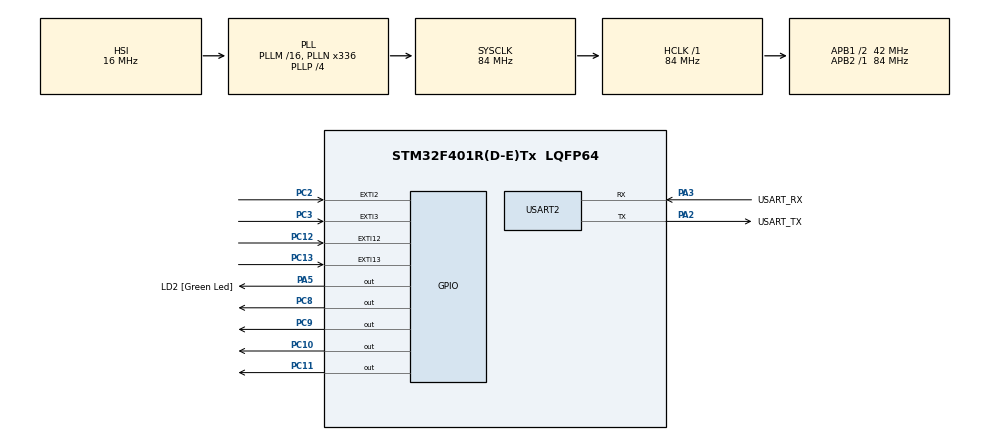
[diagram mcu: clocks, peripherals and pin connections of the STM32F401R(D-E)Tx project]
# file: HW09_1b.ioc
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Mcu.Family=STM32F4
Mcu.Name=STM32F401R(D-E)Tx
Mcu.Package=LQFP64
NVIC.EXTI15_10_IRQn=true\:0\:0\:false\:false\:true\:true\:true\:true
NVIC.EXTI2_IRQn=true\:0\:0\:true\:false\:true\:true\:true\:true
NVIC.EXTI3_IRQn=true\:0\:0\:false\:false\:true\:true\:true\:true
NVIC.PriorityGroup=NVIC_PRIORITYGROUP_0
NVIC.TIM1_UP_TIM10_IRQn=true\:0\:1\:true\:false\:true\:true\:true\:true
PA13.GPIO_Label=TMS
PA13.Mode=Serial_Wire
PA13.Signal=SYS_JTMS-SWDIO
PA14.GPIO_Label=TCK
PA14.Mode=Serial_Wire
PA14.Signal=SYS_JTCK-SWCLK
PA2.GPIO_Label=USART_TX
PA2.GPIO_Mode=GPIO_MODE_AF_PP
PA2.GPIO_PuPd=GPIO_NOPULL
PA2.GPIO_Speed=GPIO_SPEED_FREQ_LOW
PA2.Mode=Asynchronous
PA2.Signal=USART2_TX
PA3.GPIO_Label=USART_RX
PA3.GPIO_Mode=GPIO_MODE_AF_PP
PA3.GPIO_PuPd=GPIO_NOPULL
PA3.GPIO_Speed=GPIO_SPEED_FREQ_LOW
PA3.Mode=Asynchronous
PA3.Signal=USART2_RX
PA5.GPIO_Label=LD2 [Green Led]
PA5.GPIO_Mode=GPIO_MODE_OUTPUT_PP
PA5.GPIO_PuPd=GPIO_NOPULL
PA5.GPIO_Speed=GPIO_SPEED_FREQ_LOW
PA5.Signal=GPIO_Output
PB3.GPIO_Label=SWO
PB3.Signal=SYS_JTDO-SWO
PC10.Signal=GPIO_Output
PC11.Signal=GPIO_Output
PC12.GPIO_ModeDefaultEXTI=GPIO_MODE_IT_FALLING
PC12.Signal=GPXTI12
PC13-ANTI_TAMP.GPIO_ModeDefaultEXTI=GPIO_MODE_IT_FALLING
PC13-ANTI_TAMP.Signal=GPXTI13
PC14-OSC32_IN.Mode=LSE-External-Oscillator
PC14-OSC32_IN.Signal=RCC_OSC32_IN
PC15-OSC32_OUT.Mode=LSE-External-Oscillator
PC15-OSC32_OUT.Signal=RCC_OSC32_OUT
PC2.GPIO_ModeDefaultEXTI=GPIO_MODE_IT_FALLING
PC2.Signal=GPXTI2
PC3.GPIO_ModeDefaultEXTI=GPIO_MODE_IT_FALLING
PC3.Signal=GPXTI3
PC8.Signal=GPIO_Output
PC9.Signal=GPIO_Output
PH0\ -\ OSC_IN.Mode=HSE-External-Clock-Source
PH0\ -\ OSC_IN.Signal=RCC_OSC_IN
PH1\ -\ OSC_OUT.Mode=HSE-External-Clock-Source
PH1\ -\ OSC_OUT.Signal=RCC_OSC_OUT
ProjectManager.HeapSize=0x200
ProjectManager.StackSize=0x400
ProjectManager.TargetToolchain=STM32CubeIDE
RCC.48MHZClocksFreq_Value=48000000
RCC.AHBFreq_Value=84000000
RCC.APB1CLKDivider=RCC_HCLK_DIV2
RCC.APB1Freq_Value=42000000
RCC.APB1TimFreq_Value=84000000
RCC.APB2Freq_Value=84000000
RCC.APB2TimFreq_Value=84000000
RCC.CortexFreq_Value=84000000
RCC.HCLKFreq_Value=84000000
RCC.HSE_VALUE=8000000
RCC.HSI_VALUE=16000000
RCC.PLLN=336
RCC.PLLP=RCC_PLLP_DIV4
RCC.PLLQ=7
RCC.SYSCLKFreq_VALUE=84000000
RCC.SYSCLKSource=RCC_SYSCLKSOURCE_PLLCLK
RCC.VCOOutputFreq_Value=336000000
TIM10.Period=100-1
TIM10.Prescaler=8400-1
USART2.VirtualMode=VM_ASYNC
VP_TIM10_VS_ClockSourceINT.Mode=Enable_Timer
board=NUCLEO-F401RE

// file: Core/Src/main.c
/* USER CODE BEGIN Header */
/**
  ******************************************************************************
  * @file           : main.c
  * @brief          : Main program body
  ******************************************************************************
  * @attention
  *
  * Copyright (c) 2023 STMicroelectronics.
  * All rights reserved.
  *
  * This software is licensed under terms that can be found in the LICENSE file
  * in the root directory of this software component.
  * If no LICENSE file comes with this software, it is provided AS-IS.
  *
  ******************************************************************************
  */
/* USER CODE END Header */
#include "main.h"

/* USER CODE BEGIN Includes */
#include "stdio.h"
#include "time.h"
/* USER CODE END Includes */

TIM_HandleTypeDef htim10;

UART_HandleTypeDef huart2;

/* USER CODE BEGIN PV */
int column = 0;
uint32_t press_time[4][4];
char buff[50];
/* USER CODE END PV */

void SystemClock_Config(void);
static void MX_GPIO_Init(void);
static void MX_USART2_UART_Init(void);
static void MX_TIM10_Init(void);

/* USER CODE BEGIN 0 */
void HAL_GPIO_EXTI_Callback(uint16_t GPIO_Pin){
	int row;
	//Based on which pin triggered the interrupt, row is assigned its correct value
	switch(GPIO_Pin){
		case GPIO_PIN_2:
			row = 2;
			break;
		case GPIO_PIN_3:
			row = 3;
			break;
		case GPIO_PIN_12:
			row = 0;
			break;
		case GPIO_PIN_13:
			row = 1;
			break;
	}
	//current time is acquired
	uint32_t now = HAL_GetTick();
	//if difference between previous and current press time is > than 60ms, button has been pressed
	if(now - press_time[row][column]> 60)
	{
		//Button pressed! Print through UART the corresponding number
		int len = snprintf(buff, sizeof(buff),"%x \n", column + row*4-1);
		if(HAL_UART_Transmit(&huart2, (uint8_t*) &buff, len, 100) != HAL_OK)
			Error_Handler();
	}
	//assign current time to time matrix
	press_time[row][column] = now;
}

void HAL_TIM_PeriodElapsedCallback(TIM_HandleTypeDef *htim){
	if(htim == &htim10){
		//switch measured column
		switch(column){
			case 0:
				HAL_GPIO_WritePin(GPIOC, GPIO_PIN_8, 1);
			break;
			case 1:
				HAL_GPIO_WritePin(GPIOC, GPIO_PIN_8, 0);
				HAL_GPIO_WritePin(GPIOC, GPIO_PIN_9, 1);
			break;
			case 2:
				HAL_GPIO_WritePin(GPIOC, GPIO_PIN_9, 0);
				HAL_GPIO_WritePin(GPIOC, GPIO_PIN_10, 1);
			break;
			case 3:
				HAL_GPIO_WritePin(GPIOC, GPIO_PIN_10, 0);
				HAL_GPIO_WritePin(GPIOC, GPIO_PIN_11, 1);
			break;
			case 4:
				HAL_GPIO_WritePin(GPIOC, GPIO_PIN_11, 0);
				column=-1;
			break;
		}
		column++;
	}
}
/* USER CODE END 0 */

int main(void)
{
  /* USER CODE BEGIN 1 */

  //initialization of the time matrix
  for(int h=0;h<3;h++){
	  for(int k=0;k<3;k++){
		  press_time[h][k]=-1;
	  }
  }
  /* USER CODE END 1 */

  /* MCU Configuration--------------------------------------------------------*/

  /* Reset of all peripherals, Initializes the Flash interface and the Systick. */
  HAL_Init();

  /* Configure the system clock */
  SystemClock_Config();

  /* Initialize all configured peripherals */
  MX_GPIO_Init();
  MX_USART2_UART_Init();
  MX_TIM10_Init();
  /* USER CODE BEGIN 2 */
  if(HAL_TIM_Base_Start_IT(&htim10)!= HAL_OK)
      	  Error_Handler();
  /* USER CODE END 2 */

  /* Infinite loop */
  while (1)
  {

  }
}

void SystemClock_Config(void)
{
  RCC_OscInitTypeDef RCC_OscInitStruct = {0};
  RCC_ClkInitTypeDef RCC_ClkInitStruct = {0};

  /** Configure the main internal regulator output voltage
  */
  __HAL_RCC_PWR_CLK_ENABLE();
  __HAL_PWR_VOLTAGESCALING_CONFIG(PWR_REGULATOR_VOLTAGE_SCALE2);

  /** Initializes the RCC Oscillators according to the specified parameters
  * in the RCC_OscInitTypeDef structure.
  */
  RCC_OscInitStruct.OscillatorType = RCC_OSCILLATORTYPE_HSI;
  RCC_OscInitStruct.HSIState = RCC_HSI_ON;
  RCC_OscInitStruct.HSICalibrationValue = RCC_HSICALIBRATION_DEFAULT;
  RCC_OscInitStruct.PLL.PLLState = RCC_PLL_ON;
  RCC_OscInitStruct.PLL.PLLSource = RCC_PLLSOURCE_HSI;
  RCC_OscInitStruct.PLL.PLLM = 16;
  RCC_OscInitStruct.PLL.PLLN = 336;
  RCC_OscInitStruct.PLL.PLLP = RCC_PLLP_DIV4;
  RCC_OscInitStruct.PLL.PLLQ = 7;
  if (HAL_RCC_OscConfig(&RCC_OscInitStruct) != HAL_OK)
  {
    Error_Handler();
  }

  /** Initializes the CPU, AHB and APB buses clocks
  */
  RCC_ClkInitStruct.ClockType = RCC_CLOCKTYPE_HCLK|RCC_CLOCKTYPE_SYSCLK
                              |RCC_CLOCKTYPE_PCLK1|RCC_CLOCKTYPE_PCLK2;
  RCC_ClkInitStruct.SYSCLKSource = RCC_SYSCLKSOURCE_PLLCLK;
  RCC_ClkInitStruct.AHBCLKDivider = RCC_SYSCLK_DIV1;
  RCC_ClkInitStruct.APB1CLKDivider = RCC_HCLK_DIV2;
  RCC_ClkInitStruct.APB2CLKDivider = RCC_HCLK_DIV1;

  if (HAL_RCC_ClockConfig(&RCC_ClkInitStruct, FLASH_LATENCY_2) != HAL_OK)
  {
    Error_Handler();
  }
}

static void MX_TIM10_Init(void)
{

  htim10.Instance = TIM10;
  htim10.Init.Prescaler = 8400-1;
  htim10.Init.CounterMode = TIM_COUNTERMODE_UP;
  htim10.Init.Period = 100-1;
  htim10.Init.ClockDivision = TIM_CLOCKDIVISION_DIV1;
  htim10.Init.AutoReloadPreload = TIM_AUTORELOAD_PRELOAD_DISABLE;
  if (HAL_TIM_Base_Init(&htim10) != HAL_OK)
  {
    Error_Handler();
  }

}

static void MX_USART2_UART_Init(void)
{

  huart2.Instance = USART2;
  huart2.Init.BaudRate = 115200;
  huart2.Init.WordLength = UART_WORDLENGTH_8B;
  huart2.Init.StopBits = UART_STOPBITS_1;
  huart2.Init.Parity = UART_PARITY_NONE;
  huart2.Init.Mode = UART_MODE_TX_RX;
  huart2.Init.HwFlowCtl = UART_HWCONTROL_NONE;
  huart2.Init.OverSampling = UART_OVERSAMPLING_16;
  if (HAL_UART_Init(&huart2) != HAL_OK)
  {
    Error_Handler();
  }

}

static void MX_GPIO_Init(void)
{
  GPIO_InitTypeDef GPIO_InitStruct = {0};

  /* GPIO Ports Clock Enable */
  __HAL_RCC_GPIOC_CLK_ENABLE();
  __HAL_RCC_GPIOH_CLK_ENABLE();
  __HAL_RCC_GPIOA_CLK_ENABLE();
  __HAL_RCC_GPIOB_CLK_ENABLE();

  /*Configure GPIO pin Output Level */
  HAL_GPIO_WritePin(LD2_GPIO_Port, LD2_Pin, GPIO_PIN_RESET);

  /*Configure GPIO pin Output Level */
  HAL_GPIO_WritePin(GPIOC, GPIO_PIN_8|GPIO_PIN_9|GPIO_PIN_10|GPIO_PIN_11, GPIO_PIN_RESET);

  /*Configure GPIO pins : PC13 PC2 PC3 PC12 */
  GPIO_InitStruct.Pin = GPIO_PIN_13|GPIO_PIN_2|GPIO_PIN_3|GPIO_PIN_12;
  GPIO_InitStruct.Mode = GPIO_MODE_IT_FALLING;
  GPIO_InitStruct.Pull = GPIO_NOPULL;
  HAL_GPIO_Init(GPIOC, &GPIO_InitStruct);

  /*Configure GPIO pin : LD2_Pin */
  GPIO_InitStruct.Pin = LD2_Pin;
  GPIO_InitStruct.Mode = GPIO_MODE_OUTPUT_PP;
  GPIO_InitStruct.Pull = GPIO_NOPULL;
  GPIO_InitStruct.Speed = GPIO_SPEED_FREQ_LOW;
  HAL_GPIO_Init(LD2_GPIO_Port, &GPIO_InitStruct);

  /*Configure GPIO pins : PC8 PC9 PC10 PC11 */
  GPIO_InitStruct.Pin = GPIO_PIN_8|GPIO_PIN_9|GPIO_PIN_10|GPIO_PIN_11;
  GPIO_InitStruct.Mode = GPIO_MODE_OUTPUT_PP;
  GPIO_InitStruct.Pull = GPIO_NOPULL;
  GPIO_InitStruct.Speed = GPIO_SPEED_FREQ_LOW;
  HAL_GPIO_Init(GPIOC, &GPIO_InitStruct);

  /* EXTI interrupt init*/
  HAL_NVIC_SetPriority(EXTI2_IRQn, 0, 0);
  HAL_NVIC_EnableIRQ(EXTI2_IRQn);

  HAL_NVIC_SetPriority(EXTI3_IRQn, 0, 0);
  HAL_NVIC_EnableIRQ(EXTI3_IRQn);

  HAL_NVIC_SetPriority(EXTI15_10_IRQn, 0, 0);
  HAL_NVIC_EnableIRQ(EXTI15_10_IRQn);

}

void Error_Handler(void)
{
  __disable_irq();
  while (1)
  {
  }
}
